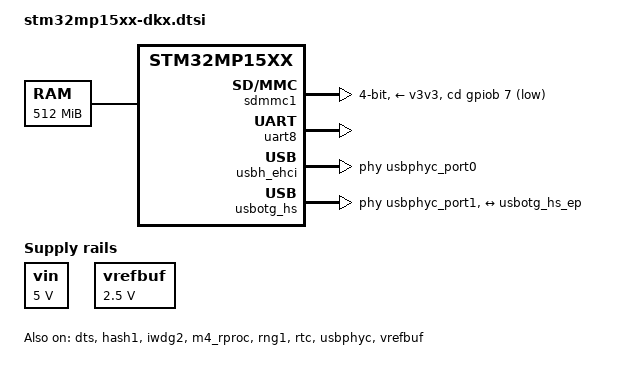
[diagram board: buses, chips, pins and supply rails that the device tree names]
// SPDX-License-Identifier: (GPL-2.0+ OR BSD-3-Clause)
/*
 * Copyright (C) STMicroelectronics 2019 - All Rights Reserved
 * Author: Alexandre Torgue <alexandre.torgue@st.com> for STMicroelectronics.
 */

#include <dt-bindings/gpio/gpio.h>
#include <dt-bindings/mfd/st,stpmic1.h>

/ {
	memory@c0000000 {
		device_type = "memory";
		reg = <0xc0000000 0x20000000>;
	};

	reserved-memory {
		#address-cells = <1>;
		#size-cells = <1>;
		ranges;

		mcuram2: mcuram2@10000000 {
			compatible = "shared-dma-pool";
			reg = <0x10000000 0x40000>;
			no-map;
		};

		vdev0vring0: vdev0vring0@10040000 {
			compatible = "shared-dma-pool";
			reg = <0x10040000 0x1000>;
			no-map;
		};

		vdev0vring1: vdev0vring1@10041000 {
			compatible = "shared-dma-pool";
			reg = <0x10041000 0x1000>;
			no-map;
		};

		vdev0buffer: vdev0buffer@10042000 {
			compatible = "shared-dma-pool";
			reg = <0x10042000 0x4000>;
			no-map;
		};

		mcuram: mcuram@30000000 {
			compatible = "shared-dma-pool";
			reg = <0x30000000 0x40000>;
			no-map;
		};

		retram: retram@38000000 {
			compatible = "shared-dma-pool";
			reg = <0x38000000 0x10000>;
			no-map;
		};

		gpu_reserved: gpu@d4000000 {
			reg = <0xd4000000 0x4000000>;
			no-map;
		};
	};

	vin: vin {
		compatible = "regulator-fixed";
		regulator-name = "vin";
		regulator-min-microvolt = <5000000>;
		regulator-max-microvolt = <5000000>;
		regulator-always-on;
	};
	
	vddcore: buck1 {
		regulator-name = "vddcore";
		regulator-min-microvolt = <1200000>;
		regulator-max-microvolt = <1350000>;
		regulator-always-on;
		regulator-initial-mode = <0>;
		regulator-over-current-protection;
	};

	vdd_ddr: buck2 {
		regulator-name = "vdd_ddr";
		regulator-min-microvolt = <1350000>;
		regulator-max-microvolt = <1350000>;
		regulator-always-on;
		regulator-initial-mode = <0>;
		regulator-over-current-protection;
	};

	vdd: buck3 {
		regulator-name = "vdd";
		regulator-min-microvolt = <3300000>;
		regulator-max-microvolt = <3300000>;
		regulator-always-on;
		st,mask-reset;
		regulator-initial-mode = <0>;
		regulator-over-current-protection;
	};

	v3v3: buck4 {
		regulator-name = "v3v3";
		regulator-min-microvolt = <3300000>;
		regulator-max-microvolt = <3300000>;
		regulator-always-on;
		regulator-over-current-protection;
		regulator-initial-mode = <0>;
	};

	v1v8_audio: ldo1 {
		regulator-name = "v1v8_audio";
		regulator-min-microvolt = <1800000>;
		regulator-max-microvolt = <1800000>;
		regulator-always-on;
		interrupts = <IT_CURLIM_LDO1 0>;
	};

	v3v3_hdmi: ldo2 {
		regulator-name = "v3v3_hdmi";
		regulator-min-microvolt = <3300000>;
		regulator-max-microvolt = <3300000>;
		regulator-always-on;
		interrupts = <IT_CURLIM_LDO2 0>;
	};

	vtt_ddr: ldo3 {
		regulator-name = "vtt_ddr";
		regulator-min-microvolt = <500000>;
		regulator-max-microvolt = <750000>;
		regulator-always-on;
		regulator-over-current-protection;
	};

	vdd_usb: ldo4 {
		regulator-name = "vdd_usb";
		interrupts = <IT_CURLIM_LDO4 0>;
	};

	vdda: ldo5 {
		regulator-name = "vdda";
		regulator-min-microvolt = <2900000>;
		regulator-max-microvolt = <2900000>;
		interrupts = <IT_CURLIM_LDO5 0>;
		regulator-boot-on;
	};

	v1v2_hdmi: ldo6 {
		regulator-name = "v1v2_hdmi";
		regulator-min-microvolt = <1200000>;
		regulator-max-microvolt = <1200000>;
		regulator-always-on;
		interrupts = <IT_CURLIM_LDO6 0>;
	};

	vref_ddr: vref_ddr {
		regulator-name = "vref_ddr";
		regulator-always-on;
	};

	bst_out: boost {
		regulator-name = "bst_out";
		interrupts = <IT_OCP_BOOST 0>;
	};

	vbus_otg: pwr_sw1 {
		regulator-name = "vbus_otg";
		interrupts = <IT_OCP_OTG 0>;
	};

	vbus_sw: pwr_sw2 {
		regulator-name = "vbus_sw";
		interrupts = <IT_OCP_SWOUT 0>;
		regulator-active-discharge = <1>;
	};
};


&dts {
	status = "okay";
};

&cpu0{
	cpu-supply = <&vddcore>;
};

&cpu1{
	cpu-supply = <&vddcore>;
};

&gpu {
	contiguous-area = <&gpu_reserved>;
};

&hash1 {
	status = "okay";
};

&ipcc {
	status = "okay";
};

&iwdg2 {
	timeout-sec = <32>;
	status = "okay";
};

&m4_rproc {
	memory-region = <&retram>, <&mcuram>, <&mcuram2>, <&vdev0vring0>,
			<&vdev0vring1>, <&vdev0buffer>;
	mboxes = <&ipcc 0>, <&ipcc 1>, <&ipcc 2>;
	mbox-names = "vq0", "vq1", "shutdown";
	interrupt-parent = <&exti>;
	interrupts = <68 1>;
	status = "okay";
};

&pwr_regulators {
	vdd-supply = <&vdd>;
	vdd_3v3_usbfs-supply = <&vdd_usb>;
};

&rng1 {
	status = "okay";
};

&rtc {
	status = "okay";
};

&sdmmc1 {
	pinctrl-names = "default", "opendrain", "sleep";
	pinctrl-0 = <&sdmmc1_b4_pins_a>;
	pinctrl-1 = <&sdmmc1_b4_od_pins_a>;
	pinctrl-2 = <&sdmmc1_b4_sleep_pins_a>;
	cd-gpios = <&gpiob 7 (GPIO_ACTIVE_LOW | GPIO_PULL_UP)>;
	disable-wp;
	st,neg-edge;
	bus-width = <4>;
	vmmc-supply = <&v3v3>;
	status = "okay";
};

&sdmmc3 {
	pinctrl-names = "default", "opendrain", "sleep";
	pinctrl-0 = <&sdmmc3_b4_pins_a>;
	pinctrl-1 = <&sdmmc3_b4_od_pins_a>;
	pinctrl-2 = <&sdmmc3_b4_sleep_pins_a>;
	broken-cd;
	st,neg-edge;
	bus-width = <4>;
	vmmc-supply = <&v3v3>;
	status = "disabled";
};

&uart8 {
	pinctrl-names = "default";
	pinctrl-0 = <>;
	status = "okay";
};

&usbh_ehci {
	phys = <&usbphyc_port0>;
	status = "okay";
};

&usbotg_hs {
	phys = <&usbphyc_port1 0>;
	phy-names = "usb2-phy";
	usb-role-switch;
	status = "okay";

	port {
		usbotg_hs_ep: endpoint {
			remote-endpoint = <&usbotg_hs_ep>;
		};
	};
};

&usbphyc {
	status = "okay";
};

&usbphyc_port0 {
	phy-supply = <&vdd_usb>;
};

&usbphyc_port1 {
	phy-supply = <&vdd_usb>;
};

&vrefbuf {
	regulator-min-microvolt = <2500000>;
	regulator-max-microvolt = <2500000>;
	vdda-supply = <&vdd>;
	status = "okay";
};
